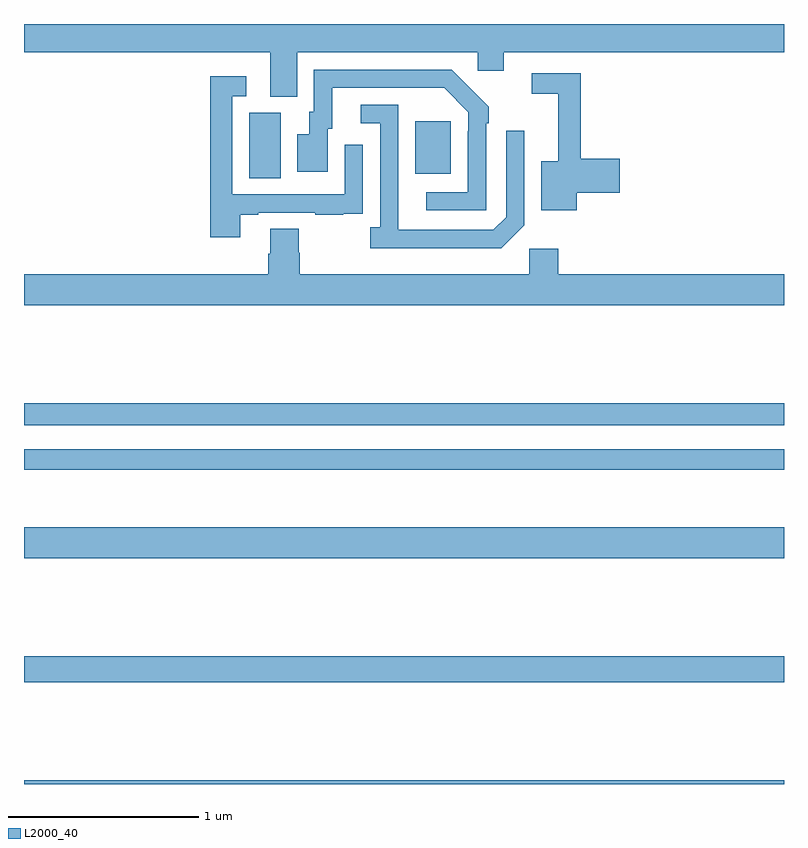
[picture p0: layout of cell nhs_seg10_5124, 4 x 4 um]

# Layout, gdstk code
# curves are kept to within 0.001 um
import gdstk
lib = gdstk.Library(unit=1e-6, precision=1e-09)
def R(c, l, rs):  # rectangles x0, y0, x1, y1
    for r in rs: c.add(gdstk.rectangle(r[:2], r[2:], *l))
def P(c, l, *ps):  # polygons
    for p in ps: c.add(gdstk.Polygon(p, *l))
L2000_40 = (2000, 40)

nhs_seg10_5124 = lib.new_cell('nhs_seg10_5124')
R(nhs_seg10_5124, L2000_40, [(409,1260.5,413,1260.52), (409,1261.036,413,1261.172), (409,1261.688,413,1261.852), (409,1262.154,413,1262.262), (409,1262.388,413,1262.504), (410.186,1263.688,410.35,1264.032), (411.059,1263.713,411.247,1263.988)])
P(nhs_seg10_5124, L2000_40, [(410.437,1264.352),(411.387,1264.352),(411.387,1264.254),(411.526,1264.254),(411.526,1264.352),(413,1264.352),(413,1264.5),(409,1264.5),(409,1264.352),(410.297,1264.352),(410.297,1264.117),(410.437,1264.117)],
  [(411.432,1263.977),(411.447,1263.977),(411.447,1264.065),(411.25,1264.26),(410.526,1264.26),(410.526,1264.038),(410.501,1264.038),(410.501,1263.919),(410.438,1263.919),(410.438,1263.723),(410.599,1263.723),(410.599,1263.948),(410.623,1263.948),(410.623,1264.164),(411.211,1264.164),(411.339,1264.035),(411.339,1263.935),(411.336,1263.935),(411.336,1263.615),(411.117,1263.615),(411.117,1263.519),(411.432,1263.519)],
  [(411.91,1263.613),(412.135,1263.613),(412.135,1263.791),(411.929,1263.791),(411.929,1264.242),(411.672,1264.242),(411.672,1264.134),(411.812,1264.134),(411.812,1263.778),(411.722,1263.778),(411.722,1263.521),(411.91,1263.521)],
  [(410.137,1263.495),(410.233,1263.495),(410.233,1263.507),(410.533,1263.507),(410.533,1263.495),(410.681,1263.495),(410.681,1263.501),(410.783,1263.501),(410.783,1263.61),(410.784,1263.61),(410.784,1263.865),(410.688,1263.865),(410.688,1263.603),(410.097,1263.603),(410.097,1264.119),(410.17,1264.119),(410.17,1264.225),(409.981,1264.225),(409.981,1263.378),(410.137,1263.378)],
  [(411.633,1263.441),(411.633,1263.937),(411.537,1263.937),(411.537,1263.483),(411.471,1263.417),(410.971,1263.417),(410.97,1264.074),(410.772,1264.074),(410.772,1263.978),(410.874,1263.978),(410.874,1263.43),(410.823,1263.43),(410.823,1263.32),(411.512,1263.32)],
  [(413,1263.184),(411.812,1263.184),(411.812,1263.316),(411.66,1263.316),(411.66,1263.184),(410.45,1263.184),(410.45,1263.297),(410.445,1263.297),(410.445,1263.422),(410.297,1263.422),(410.297,1263.29),(410.285,1263.29),(410.285,1263.184),(409,1263.184),(409,1263.02),(413,1263.02)])

lib.write_gds('nhs_seg10_5124.gds')
